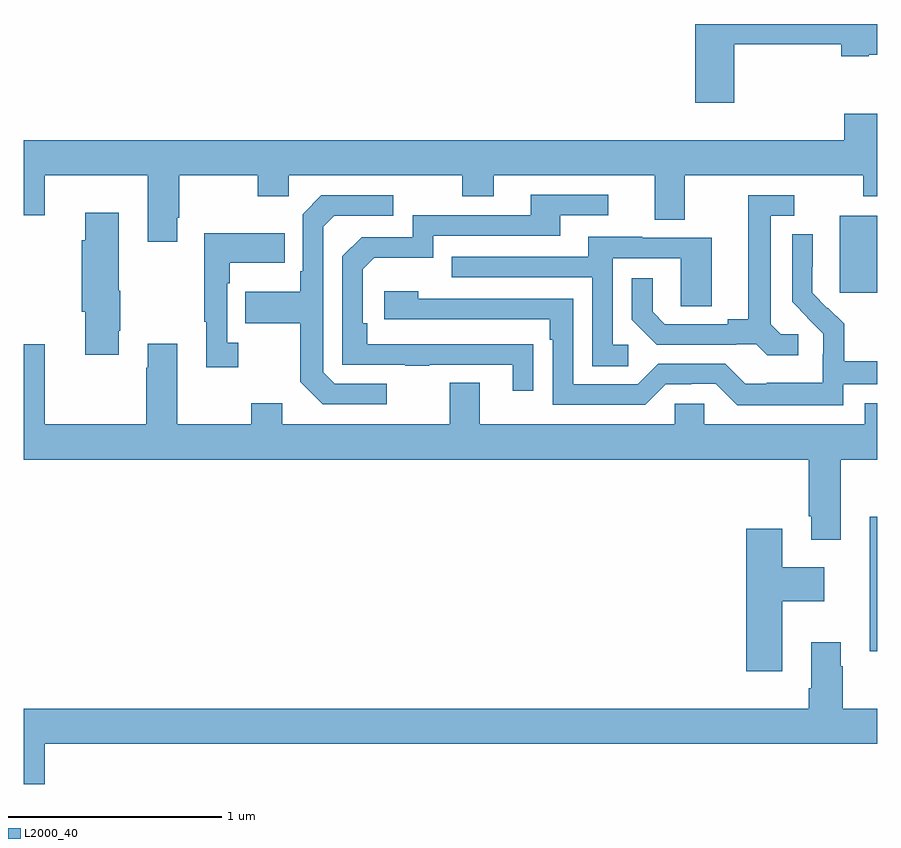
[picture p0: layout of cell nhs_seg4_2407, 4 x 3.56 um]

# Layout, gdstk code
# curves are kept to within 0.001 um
import gdstk
lib = gdstk.Library(unit=1e-6, precision=1e-09)
def R(c, l, rs):  # rectangles x0, y0, x1, y1
    for r in rs: c.add(gdstk.rectangle(r[:2], r[2:], *l))
def P(c, l, *ps):  # polygons
    for p in ps: c.add(gdstk.Polygon(p, *l))
L2000_40 = (2000, 40)

nhs_seg4_2407 = lib.new_cell('nhs_seg4_2407')
R(nhs_seg4_2407, L2000_40, [(240.965,755.963,241,756.592), (240.824,757.641,241,758.002)])
P(nhs_seg4_2407, L2000_40, [(240.329,758.805),(240.83,758.805),(240.83,758.75),(240.96,758.75),(240.96,758.756),(241,758.756),(241,758.9),(240.146,758.9),(240.146,758.532),(240.329,758.532)],
  [(237.721,757.993),(237.729,757.993),(237.729,758.192),(238.096,758.192),(238.096,758.093),(238.242,758.093),(238.242,758.192),(239.056,758.192),(239.056,758.093),(239.203,758.093),(239.203,758.192),(239.957,758.192),(239.957,757.984),(240.097,757.984),(240.097,758.192),(240.934,758.192),(240.934,758.093),(241,758.093),(241,758.48),(240.845,758.48),(240.845,758.356),(237,758.356),(237,758.004),(237.1,758.004),(237.1,758.192),(237.581,758.192),(237.581,757.881),(237.721,757.881)],
  [(239.387,757.4),(238.61,757.401),(238.61,757.498),(238.59,757.498),(238.59,757.752),(238.643,757.805),(238.92,757.805),(238.92,757.908),(239.515,757.908),(239.515,758.004),(239.74,758.004),(239.74,758.1),(239.375,758.1),(239.375,758.004),(238.824,758.004),(238.824,757.902),(238.584,757.902),(238.494,757.812),(238.494,757.305),(238.789,757.305),(238.789,757.3),(238.901,757.3),(238.901,757.305),(239.291,757.305),(239.291,757.182),(239.387,757.182)],
  [(240.628,757.446),(240.546,757.446),(240.499,757.493),(240.499,758.001),(240.61,758.001),(240.61,758.097),(240.395,758.097),(240.395,757.517),(240.299,757.517),(240.299,757.494),(240.004,757.494),(239.947,757.551),(239.947,757.708),(239.85,757.708),(239.85,757.514),(239.966,757.398),(240.338,757.398),(240.338,757.401),(240.432,757.401),(240.484,757.349),(240.628,757.349)],
  [(238.702,757.215),(238.458,757.215),(238.404,757.269),(238.404,757.95),(238.455,758.001),(238.732,758.001),(238.732,758.097),(238.395,758.097),(238.308,758.01),(238.308,757.741),(238.296,757.741),(238.296,757.645),(238.039,757.645),(238.039,757.498),(238.296,757.498),(238.296,757.225),(238.401,757.119),(238.702,757.119)],
  [(237.445,757.462),(237.453,757.462),(237.453,757.651),(237.445,757.651),(237.445,758.017),(237.29,758.017),(237.29,757.887),(237.272,757.887),(237.272,757.551),(237.29,757.551),(237.29,757.35),(237.445,757.35)],
  [(238.006,757.406),(237.954,757.406),(237.954,757.685),(237.967,757.685),(237.967,757.781),(238.223,757.781),(238.223,757.921),(237.846,757.921),(237.846,757.505),(237.857,757.505),(237.857,757.293),(238.006,757.293)],
  [(240.84,757.212),(241,757.212),(241,757.321),(240.845,757.321),(240.845,757.495),(240.768,757.572),(240.765,757.569),(240.695,757.64),(240.696,757.916),(240.6,757.916),(240.6,757.598),(240.746,757.45),(240.746,757.353),(240.744,757.353),(240.744,757.219),(240.481,757.219),(240.481,757.215),(240.381,757.215),(240.288,757.308),(239.973,757.308),(239.877,757.212),(239.574,757.212),(239.574,757.614),(238.85,757.614),(238.85,757.648),(238.689,757.648),(238.689,757.518),(239.465,757.518),(239.465,757.421),(239.478,757.421),(239.478,757.116),(239.913,757.116),(240.009,757.212),(240.128,757.212),(240.128,757.215),(240.243,757.215),(240.343,757.115),(240.84,757.115)],
  [(239.833,757.398),(239.76,757.398),(239.76,757.803),(240.078,757.803),(240.078,757.579),(240.223,757.579),(240.223,757.899),(239.899,757.899),(239.899,757.903),(239.645,757.903),(239.645,757.809),(239.005,757.809),(239.005,757.713),(239.664,757.713),(239.664,757.297),(239.833,757.297)],
  [(240.829,756.86),(241,756.86),(241,757.123),(240.941,757.123),(240.941,757.024),(240.189,757.024),(240.189,757.122),(240.051,757.122),(240.051,757.024),(239.137,757.024),(239.137,757.219),(238.997,757.219),(238.997,757.024),(238.213,757.024),(238.213,757.123),(238.066,757.123),(238.066,757.024),(237.721,757.024),(237.721,757.402),(237.581,757.402),(237.581,757.289),(237.574,757.289),(237.574,757.024),(237.1,757.024),(237.1,757.399),(237,757.399),(237,756.86),(240.677,756.86),(240.677,756.595),(240.689,756.595),(240.689,756.483),(240.829,756.483)],
  [(240.553,756.197),(240.751,756.197),(240.751,756.355),(240.553,756.355),(240.553,756.535),(240.386,756.535),(240.386,755.868),(240.553,755.868)],
  [(237.1,755.528),(241,755.528),(241,755.692),(240.837,755.692),(240.837,755.891),(240.829,755.891),(240.829,756.004),(240.689,756.004),(240.689,755.788),(240.677,755.788),(240.677,755.692),(237,755.692),(237,755.34),(237.1,755.34)])

lib.write_gds('nhs_seg4_2407.gds')
